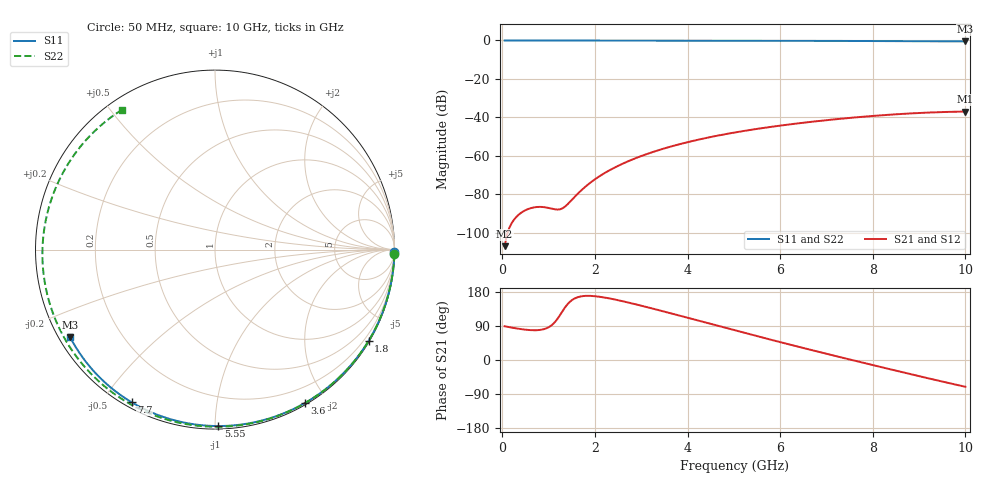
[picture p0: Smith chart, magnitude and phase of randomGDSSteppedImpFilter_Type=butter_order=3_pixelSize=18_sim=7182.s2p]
! freq	dB(S11)	phase(S11)	dB(S12)	phase(S12)
!  dB(S21)	phase(S21)	dB(S22)	phase(S22)
!S-par simulation data
#  GHz  S  DB  R 50
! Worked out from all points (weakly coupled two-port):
!   200 points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, 50 MHz to 10 GHz, reference 50 ohm
!   highest |S21| = -36.98 dB at 10 GHz (marker M1); lowest = -107.0 dB at 50 MHz (marker M2)
!   lowest |S11| = -0.5 dB at 10 GHz (marker M3), VSWR 34.25, Z = 1.57 - j13.9 ohm
!   |S11| at or under -10 dB: nowhere
!   |S22| runs from -0.6 to 0.0 dB; largest |S21 - S12| = 0
!   S11 on the Smith chart (normalised r, x): 50 MHz: open; 1.8 GHz: 0.03, -3.65; 3.6 GHz: 0.02, -1.74; 5.55 GHz: 0.02, -1.02; 7.7 GHz: 0.02, -0.59; 10 GHz: 0.03, -0.28
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0.05  -0.00 -0.9  -106.99 89.0  -106.99 89.0  -0.00 -1.5
0.4  -0.01 -6.9  -89.73 81.6  -89.73 81.6  -0.02 -11.8
0.8  -0.02 -13.8  -86.56 79.2  -86.56 79.2  -0.03 -23.5
1.2  -0.03 -20.6  -87.96 110.0  -87.96 110.0  -0.04 -35.0
1.6  -0.03 -27.3  -80.44 164.4  -80.44 164.4  -0.06 -46.2
1.75  -0.04 -29.8  -76.98 168.8  -76.98 168.8  -0.06 -50.4
1.8  -0.04 -30.6  -75.94 169.2  -75.94 169.2  -0.06 -51.8
2.1  -0.05 -35.6  -70.60 166.9  -70.60 166.9  -0.07 -59.9
2.45  -0.05 -41.4  -65.81 159.1  -65.81 159.1  -0.09 -69.1
2.9  -0.06 -48.7  -61.04 146.4  -61.04 146.4  -0.10 -80.7
3.4  -0.08 -56.6  -56.87 130.9  -56.87 130.9  -0.12 -93.0
3.6  -0.08 -59.7  -55.44 124.5  -55.44 124.5  -0.12 -97.8
4.3  -0.10 -70.5  -51.24 101.8  -51.24 101.8  -0.15 -114.0
5.05  -0.13 -81.7  -47.73 77.5  -47.73 77.5  -0.19 -130.5
5.55  -0.15 -88.9  -45.81 61.4  -45.81 61.4  -0.21 -141.2
6.15  -0.17 -97.4  -43.82 42.5  -43.82 42.5  -0.25 -153.7
6.7  -0.20 -105.1  -42.24 25.5  -42.24 25.5  -0.29 -165.0
7.2  -0.24 -111.9  -40.97 10.4  -40.97 10.4  -0.32 -175.3
7.7  -0.27 -118.7  -39.86 -4.5  -39.86 -4.5  -0.37 174.3
8.35  -0.33 -127.3  -38.64 -23.7  -38.64 -23.7  -0.42 160.6
9.15  -0.41 -137.9  -37.56 -46.9  -37.56 -46.9  -0.50 143.2
10  -0.51 -149.0  -36.98 -70.6  -36.98 -70.6  -0.58 123.7
